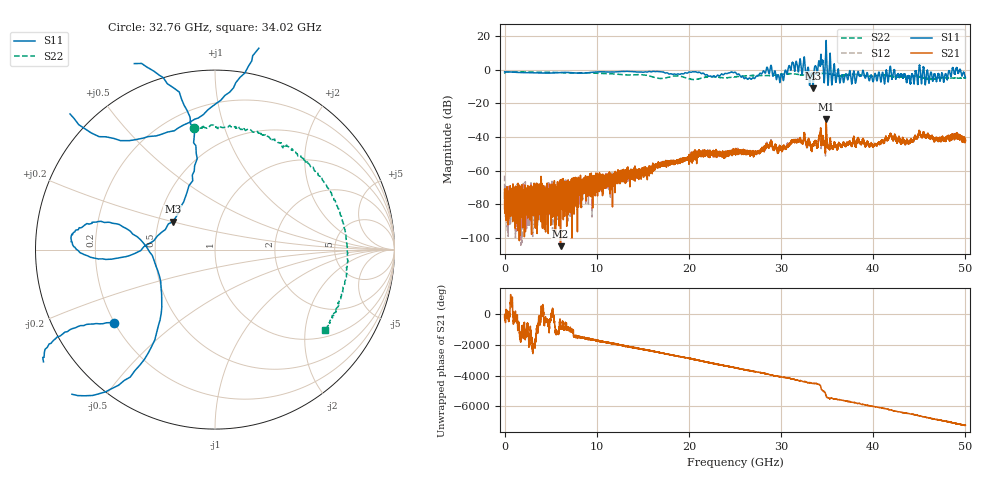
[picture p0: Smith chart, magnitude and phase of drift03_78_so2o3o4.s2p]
!Created with skrf (http://scikit-rf.org).
# Hz S RI R 50.0
!freq ReS11 ImS11 ReS21 ImS21 ReS12 ImS12 ReS22 ImS22
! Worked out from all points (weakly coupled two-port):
!   10001 points, 300 kHz to 50 GHz, reference 50 ohm
!   highest |S21| = -29.63 dB at 34.89 GHz (marker M1); lowest = -105.0 dB at 6.065 GHz (marker M2)
!   lowest |S11| = -11.0 dB at 33.47 GHz (marker M3), VSWR 1.78, Z = 29.7 + j10 ohm
!   |S11| at or under -10 dB: 33.4487 GHz to 33.48436 GHz (35.66 MHz wide, 0.107 % of centre)
!   |S22| runs from -5.9 to -1.3 dB; largest |S21 - S12| = 0.0076
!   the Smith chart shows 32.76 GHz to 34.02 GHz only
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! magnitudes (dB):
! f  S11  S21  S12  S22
! 300 kHz  -1.3  -76.5  -63.0  -2.0
! 255.3 MHz  -1.3  -79.1  -79.3  -1.4
! 560.3 MHz  -1.4  -86.7  -76.7  -1.5
! 6.065 GHz  -1.7  -105.0  -70.5  -1.8
! 8.335 GHz  -2.2  -67.6  -69.3  -1.9
! 16.67 GHz  -1.1  -58.0  -56.0  -5.1
! 25 GHz  -1.5  -48.1  -48.8  -4.3
! 26.92 GHz  -4.9  -51.0  -50.1  -3.5
! 28.73 GHz  -2.2  -44.8  -45.3  -3.5
! 30.06 GHz  -2.5  -47.0  -47.4  -2.8
! 31.87 GHz  -1.4  -42.2  -42.3  -2.9
! 33.34 GHz  -2.2  -47.7  -47.2  -2.9
! 33.47 GHz  -11.0  -44.2  -44.9  -2.8
! 34.3 GHz  7.6  -35.0  -35.5  -2.3
! 34.89 GHz  17.2  -29.6  -31.9  -2.3
! 36.58 GHz  -3.5  -45.8  -46.2  -3.6
! 40.18 GHz  -2.3  -43.8  -44.2  -3.7
! 41.67 GHz  -5.4  -41.0  -41.0  -3.7
! 43.84 GHz  -3.5  -43.4  -43.6  -3.8
! 45.21 GHz  -7.0  -40.0  -38.9  -4.4
! 49.21 GHz  -2.0  -39.0  -39.5  -5.1
! 50 GHz  -4.8  -42.2  -42.1  -4.9
